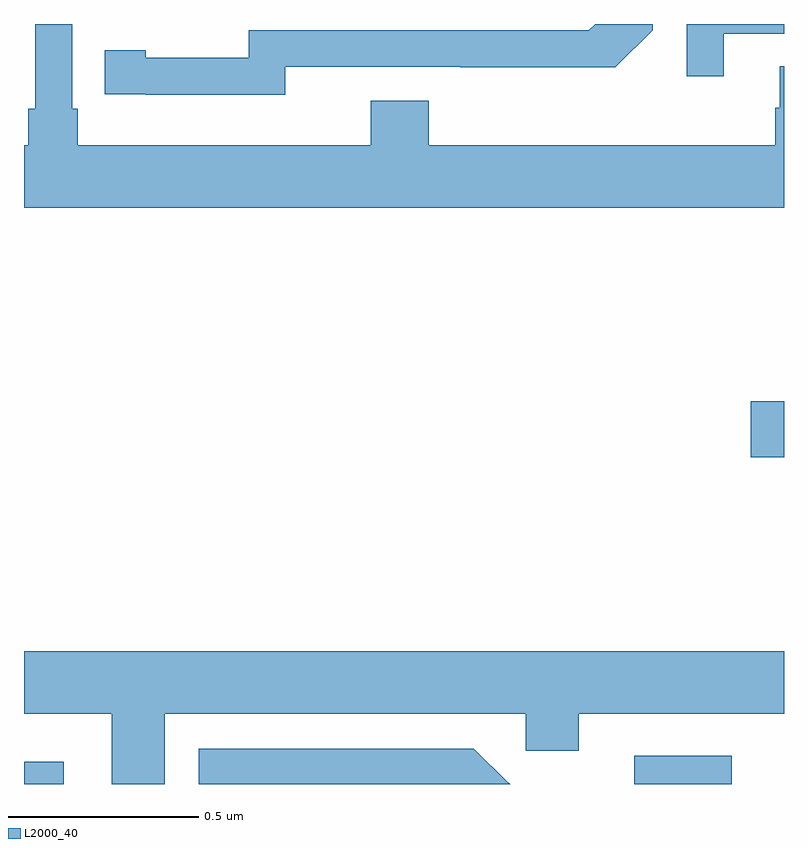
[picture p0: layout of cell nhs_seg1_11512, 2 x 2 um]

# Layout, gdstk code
import gdstk
lib = gdstk.Library(unit=1e-6, precision=1e-09)
def R(c, l, rs):  # rectangles x0, y0, x1, y1
    for r in rs: c.add(gdstk.rectangle(r[:2], r[2:], *l))
def P(c, l, *ps):  # polygons
    for p in ps: c.add(gdstk.Polygon(p, *l))
L2000_40 = (2000, 40)

nhs_seg1_11512 = lib.new_cell('nhs_seg1_11512')
R(nhs_seg1_11512, L2000_40, [(254,566.199,254.104,566.257), (255.606,566.199,255.863,566.274), (255.912,567.059,256,567.206)])
P(nhs_seg1_11512, L2000_40, [(256,568.088),(255.989,568.088),(255.989,567.978),(255.977,567.978),(255.977,567.88),(255.065,567.88),(255.065,567.997),(254.912,567.997),(254.912,567.88),(254.141,567.88),(254.141,567.976),(254.127,567.976),(254.127,568.199),(254.03,568.199),(254.03,567.976),(254.011,567.976),(254.011,567.88),(254,567.88),(254,567.716),(256,567.716)],
  [(254.688,568.086),(255.148,568.086),(255.148,568.085),(255.556,568.085),(255.654,568.182),(255.654,568.199),(255.503,568.199),(255.486,568.182),(254.592,568.182),(254.592,568.11),(254.32,568.11),(254.32,568.13),(254.212,568.13),(254.212,568.014),(254.32,568.014),(254.32,568.013),(254.688,568.013)],
  [(255.841,568.173),(256,568.173),(256,568.199),(255.744,568.199),(255.744,568.062),(255.841,568.062)],
  [(254.371,566.384),(255.321,566.384),(255.321,566.286),(255.46,566.286),(255.46,566.384),(256,566.384),(256,566.548),(254,566.548),(254,566.384),(254.231,566.384),(254.231,566.199),(254.371,566.199)],
  [(255.276,566.202),(255.275,566.201),(255.184,566.292),(254.46,566.292),(254.46,566.199),(255.279,566.199)])

lib.write_gds('nhs_seg1_11512.gds')
